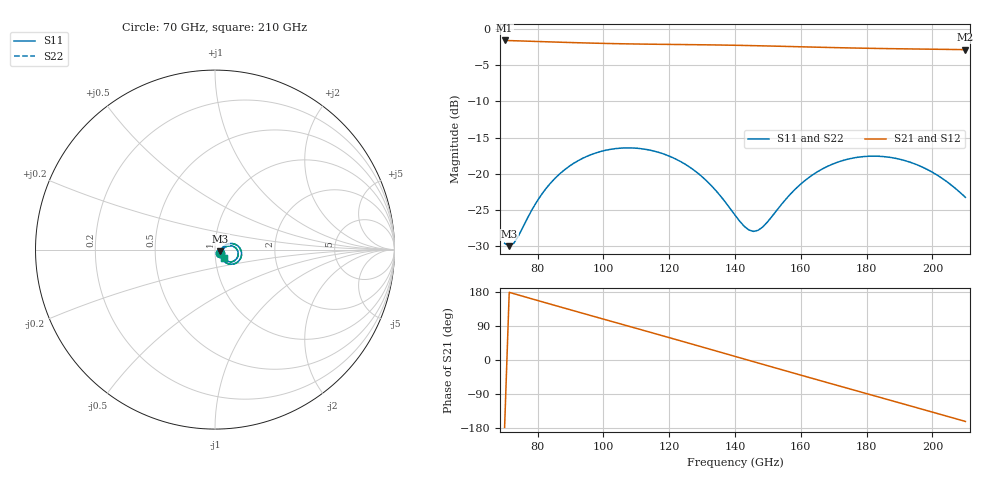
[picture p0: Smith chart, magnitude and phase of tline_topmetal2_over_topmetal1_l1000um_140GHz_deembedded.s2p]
! Created with skrf 2.2.0 (http://scikit-rf.org).
# GHz S DB R 50.0
! Port[1] = P1
! Port[2] = P2
!freq dBS11 angS11 dBS21 angS21 dBS12 angS12 dBS22 angS22
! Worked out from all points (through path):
!   101 points, 70 GHz to 210 GHz, reference 50 ohm
!   highest |S21| = -1.58 dB at 70 GHz (marker M1); lowest = -2.8 dB at 210 GHz (marker M2)
!   group delay of S21, straight-line fit = 6.83 ps
!   lowest |S11| = -30.0 dB at 71.4 GHz (marker M3), VSWR 1.07, Z = 53.1 - j1.07 ohm
!   |S11| at or under -10 dB: start of sweep to end of sweep
!   |S22| runs from -29.8 to -16.4 dB; largest |S21 - S12| = 9.2e-14
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70  -29.60 -32.9  -1.58 -177.9  -1.58 -177.9  -29.46 -32.2
71.4  -29.99 -18.6  -1.60 178.6  -1.60 178.6  -29.80 -18.2
72.8  -29.59 -4.5  -1.61 175.1  -1.61 175.1  -29.39 -4.5
82.6  -22.02 23.5  -1.76 150.7  -1.76 150.7  -21.96 23.0
88.2  -19.45 18.0  -1.84 136.9  -1.84 136.9  -19.41 17.5
93.8  -17.84 9.6  -1.91 123.1  -1.91 123.1  -17.81 9.1
100.8  -16.74 -2.5  -1.99 106.0  -1.99 106.0  -16.72 -2.9
106.4  -16.42 -12.6  -2.04 92.3  -2.04 92.3  -16.41 -13.0
112  -16.56 -22.7  -2.08 78.7  -2.08 78.7  -16.54 -23.1
117.6  -17.15 -32.5  -2.11 65.0  -2.11 65.0  -17.14 -32.9
128.8  -19.94 -48.7  -2.17 37.3  -2.17 37.3  -19.94 -49.1
134.4  -22.42 -51.9  -2.20 23.5  -2.20 23.5  -22.43 -52.3
140  -25.70 -45.1  -2.24 9.6  -2.24 9.6  -25.72 -45.5
144.2  -27.75 -26.8  -2.28 -0.9  -2.28 -0.9  -27.77 -26.9
147  -27.80 -9.8  -2.31 -7.8  -2.31 -7.8  -27.80 -9.9
155.4  -23.53 15.2  -2.40 -28.6  -2.40 -28.6  -23.49 14.9
163.8  -20.08 11.5  -2.49 -49.2  -2.49 -49.2  -20.04 11.0
170.8  -18.46 2.3  -2.57 -66.4  -2.57 -66.4  -18.43 1.7
176.4  -17.78 -6.4  -2.62 -80.0  -2.62 -80.0  -17.75 -7.0
187.6  -17.76 -24.3  -2.71 -107.3  -2.71 -107.3  -17.74 -25.0
200.2  -19.84 -41.2  -2.79 -138.1  -2.79 -138.1  -19.84 -42.1
210  -23.24 -44.4  -2.85 -162.1  -2.85 -162.1  -23.31 -45.6
